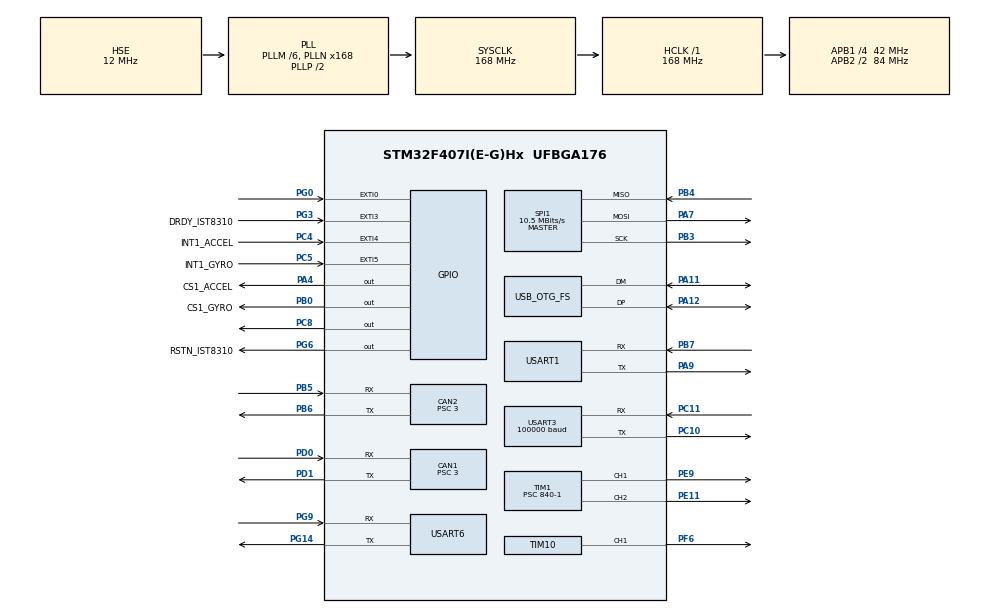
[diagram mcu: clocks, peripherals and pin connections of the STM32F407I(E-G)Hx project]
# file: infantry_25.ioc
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CAN1.BS1=CAN_BS1_10TQ
CAN1.BS2=CAN_BS2_3TQ
CAN1.CalculateBaudRate=1000000
CAN1.CalculateTimeBit=1000
CAN1.CalculateTimeQuantum=71.42857142857143
CAN1.Prescaler=3
CAN2.BS1=CAN_BS1_10TQ
CAN2.BS2=CAN_BS2_3TQ
CAN2.CalculateBaudRate=1000000
CAN2.CalculateTimeBit=1000
CAN2.CalculateTimeQuantum=71.42857142857143
CAN2.Prescaler=3
Dma.Request0=SPI1_RX
Dma.Request1=SPI1_TX
Dma.Request2=USART3_RX
Dma.Request3=USART1_RX
Dma.Request4=USART6_TX
Dma.Request5=USART6_RX
Dma.Request6=USART1_TX
Dma.SPI1_RX.0.Direction=DMA_PERIPH_TO_MEMORY
Dma.SPI1_RX.0.FIFOMode=DMA_FIFOMODE_DISABLE
Dma.SPI1_RX.0.Instance=DMA2_Stream2
Dma.SPI1_RX.0.MemDataAlignment=DMA_MDATAALIGN_BYTE
Dma.SPI1_RX.0.MemInc=DMA_MINC_ENABLE
Dma.SPI1_RX.0.Mode=DMA_NORMAL
Dma.SPI1_RX.0.PeriphDataAlignment=DMA_PDATAALIGN_BYTE
Dma.SPI1_RX.0.PeriphInc=DMA_PINC_DISABLE
Dma.SPI1_RX.0.Priority=DMA_PRIORITY_VERY_HIGH
Dma.SPI1_TX.1.Direction=DMA_MEMORY_TO_PERIPH
Dma.SPI1_TX.1.FIFOMode=DMA_FIFOMODE_DISABLE
Dma.SPI1_TX.1.Instance=DMA2_Stream3
Dma.SPI1_TX.1.MemDataAlignment=DMA_MDATAALIGN_BYTE
Dma.SPI1_TX.1.MemInc=DMA_MINC_ENABLE
Dma.SPI1_TX.1.Mode=DMA_NORMAL
Dma.SPI1_TX.1.PeriphDataAlignment=DMA_PDATAALIGN_BYTE
Dma.SPI1_TX.1.PeriphInc=DMA_PINC_DISABLE
Dma.SPI1_TX.1.Priority=DMA_PRIORITY_HIGH
Dma.USART1_RX.3.Direction=DMA_PERIPH_TO_MEMORY
Dma.USART1_RX.3.FIFOMode=DMA_FIFOMODE_DISABLE
Dma.USART1_RX.3.Instance=DMA2_Stream5
Dma.USART1_RX.3.MemDataAlignment=DMA_MDATAALIGN_BYTE
Dma.USART1_RX.3.MemInc=DMA_MINC_ENABLE
Dma.USART1_RX.3.Mode=DMA_NORMAL
Dma.USART1_RX.3.PeriphDataAlignment=DMA_PDATAALIGN_BYTE
Dma.USART1_RX.3.PeriphInc=DMA_PINC_DISABLE
Dma.USART1_RX.3.Priority=DMA_PRIORITY_HIGH
Dma.USART1_TX.6.Direction=DMA_MEMORY_TO_PERIPH
Dma.USART1_TX.6.FIFOMode=DMA_FIFOMODE_DISABLE
Dma.USART1_TX.6.Instance=DMA2_Stream7
Dma.USART1_TX.6.MemDataAlignment=DMA_MDATAALIGN_BYTE
Dma.USART1_TX.6.MemInc=DMA_MINC_ENABLE
Dma.USART1_TX.6.Mode=DMA_NORMAL
Dma.USART1_TX.6.PeriphDataAlignment=DMA_PDATAALIGN_BYTE
Dma.USART1_TX.6.PeriphInc=DMA_PINC_DISABLE
Dma.USART1_TX.6.Priority=DMA_PRIORITY_HIGH
Dma.USART3_RX.2.Direction=DMA_PERIPH_TO_MEMORY
Dma.USART3_RX.2.FIFOMode=DMA_FIFOMODE_DISABLE
Dma.USART3_RX.2.Instance=DMA1_Stream1
Dma.USART3_RX.2.MemDataAlignment=DMA_MDATAALIGN_BYTE
Dma.USART3_RX.2.MemInc=DMA_MINC_ENABLE
Dma.USART3_RX.2.Mode=DMA_CIRCULAR
Dma.USART3_RX.2.PeriphDataAlignment=DMA_PDATAALIGN_BYTE
Dma.USART3_RX.2.PeriphInc=DMA_PINC_DISABLE
Dma.USART3_RX.2.Priority=DMA_PRIORITY_LOW
Dma.USART6_RX.5.Direction=DMA_PERIPH_TO_MEMORY
Dma.USART6_RX.5.FIFOMode=DMA_FIFOMODE_DISABLE
Dma.USART6_RX.5.Instance=DMA2_Stream1
Dma.USART6_RX.5.MemDataAlignment=DMA_MDATAALIGN_BYTE
Dma.USART6_RX.5.MemInc=DMA_MINC_ENABLE
Dma.USART6_RX.5.Mode=DMA_NORMAL
Dma.USART6_RX.5.PeriphDataAlignment=DMA_PDATAALIGN_BYTE
Dma.USART6_RX.5.PeriphInc=DMA_PINC_DISABLE
Dma.USART6_RX.5.Priority=DMA_PRIORITY_LOW
Dma.USART6_TX.4.Direction=DMA_MEMORY_TO_PERIPH
Dma.USART6_TX.4.FIFOMode=DMA_FIFOMODE_DISABLE
Dma.USART6_TX.4.Instance=DMA2_Stream6
Dma.USART6_TX.4.MemDataAlignment=DMA_MDATAALIGN_BYTE
Dma.USART6_TX.4.MemInc=DMA_MINC_ENABLE
Dma.USART6_TX.4.Mode=DMA_NORMAL
Dma.USART6_TX.4.PeriphDataAlignment=DMA_PDATAALIGN_BYTE
Dma.USART6_TX.4.PeriphInc=DMA_PINC_DISABLE
Dma.USART6_TX.4.Priority=DMA_PRIORITY_LOW
FREERTOS.Tasks01=defaultTask,0,128,StartDefaultTask,Default,NULL,Dynamic,NULL,NULL;INSTask,0,512,StartINSTask,As weak,NULL,Dynamic,NULL,NULL
FREERTOS.configTOTAL_HEAP_SIZE=24576
Mcu.Family=STM32F4
Mcu.Name=STM32F407I(E-G)Hx
Mcu.Package=UFBGA176
NVIC.CAN1_RX0_IRQn=true\:5\:0\:false\:false\:true\:true\:true\:true\:true
NVIC.CAN1_TX_IRQn=true\:5\:0\:false\:false\:true\:true\:true\:true\:true
NVIC.CAN2_RX1_IRQn=true\:5\:0\:false\:false\:true\:true\:true\:true\:true
NVIC.CAN2_TX_IRQn=true\:5\:0\:false\:false\:true\:true\:true\:true\:true
NVIC.DMA1_Stream1_IRQn=true\:5\:0\:false\:false\:true\:true\:false\:true\:true
NVIC.DMA2_Stream1_IRQn=true\:5\:0\:false\:false\:true\:true\:false\:true\:true
NVIC.DMA2_Stream2_IRQn=true\:5\:0\:true\:false\:false\:true\:false\:false\:true
NVIC.DMA2_Stream3_IRQn=true\:5\:0\:false\:false\:false\:true\:false\:false\:true
NVIC.DMA2_Stream5_IRQn=true\:5\:0\:true\:false\:true\:true\:false\:true\:true
NVIC.DMA2_Stream6_IRQn=true\:5\:0\:false\:false\:true\:true\:false\:true\:true
NVIC.DMA2_Stream7_IRQn=true\:5\:0\:false\:false\:true\:true\:false\:true\:true
NVIC.EXTI0_IRQn=true\:6\:0\:true\:false\:true\:true\:true\:true\:true
NVIC.EXTI3_IRQn=true\:5\:0\:false\:false\:true\:true\:true\:true\:true
NVIC.EXTI4_IRQn=true\:5\:0\:false\:false\:true\:true\:true\:true\:true
NVIC.EXTI9_5_IRQn=true\:5\:0\:false\:false\:true\:true\:true\:true\:true
NVIC.OTG_FS_IRQn=true\:5\:0\:false\:false\:true\:true\:false\:true\:true
NVIC.PriorityGroup=NVIC_PRIORITYGROUP_4
NVIC.TIM2_IRQn=true\:15\:0\:false\:false\:true\:false\:false\:true\:true
NVIC.TimeBase=TIM2_IRQn
NVIC.TimeBaseIP=TIM2
NVIC.USART1_IRQn=true\:5\:0\:false\:false\:true\:true\:true\:true\:true
NVIC.USART3_IRQn=true\:5\:0\:false\:false\:false\:true\:true\:true\:true
NVIC.USART6_IRQn=true\:7\:0\:true\:false\:true\:true\:false\:true\:true
PA11.Mode=Device_Only
PA11.Signal=USB_OTG_FS_DM
PA12.Mode=Device_Only
PA12.Signal=USB_OTG_FS_DP
PA13.Mode=Serial_Wire
PA13.Signal=SYS_JTMS-SWDIO
PA14.Mode=Serial_Wire
PA14.Signal=SYS_JTCK-SWCLK
PA4.GPIO_Label=CS1_ACCEL
PA4.GPIO_PuPd=GPIO_PULLUP
PA4.GPIO_Speed=GPIO_SPEED_FREQ_HIGH
PA4.PinState=GPIO_PIN_SET
PA4.Signal=GPIO_Output
PA7.GPIO_PuPd=GPIO_PULLUP
PA7.Mode=Full_Duplex_Master
PA7.Signal=SPI1_MOSI
PA9.Mode=Asynchronous
PA9.Signal=USART1_TX
PB0.GPIO_Label=CS1_GYRO
PB0.GPIO_ModeDefaultOutputPP=GPIO_MODE_OUTPUT_PP
PB0.GPIO_PuPd=GPIO_PULLUP
PB0.GPIO_Speed=GPIO_SPEED_FREQ_HIGH
PB0.PinState=GPIO_PIN_SET
PB0.Signal=GPIO_Output
PB3.GPIO_PuPd=GPIO_PULLUP
PB3.Mode=Full_Duplex_Master
PB3.Signal=SPI1_SCK
PB4.GPIO_PuPd=GPIO_PULLUP
PB4.Mode=Full_Duplex_Master
PB4.Signal=SPI1_MISO
PB5.Mode=CAN_Activate
PB5.Signal=CAN2_RX
PB6.Mode=CAN_Activate
PB6.Signal=CAN2_TX
PB7.Mode=Asynchronous
PB7.Signal=USART1_RX
PC10.Mode=Asynchronous
PC10.Signal=USART3_TX
PC11.Mode=Asynchronous
PC11.Signal=USART3_RX
PC4.GPIO_Label=INT1_ACCEL
PC4.GPIO_ModeDefaultEXTI=GPIO_MODE_IT_FALLING
PC4.GPIO_PuPd=GPIO_PULLUP
PC4.Signal=GPXTI4
PC5.GPIO_Label=INT1_GYRO
PC5.GPIO_ModeDefaultEXTI=GPIO_MODE_IT_FALLING
PC5.GPIO_PuPd=GPIO_PULLUP
PC5.Signal=GPXTI5
PC8.GPIO_ModeDefaultOutputPP=GPIO_MODE_OUTPUT_PP
PC8.Signal=GPIO_Output
PD0.Mode=CAN_Activate
PD0.Signal=CAN1_RX
PD1.Mode=CAN_Activate
PD1.Signal=CAN1_TX
PE11.Signal=S_TIM1_CH2
PE9.Signal=S_TIM1_CH1
PF6.Signal=S_TIM10_CH1
PG0.GPIO_ModeDefaultEXTI=GPIO_MODE_IT_FALLING
PG0.GPIO_PuPd=GPIO_PULLUP
PG0.Signal=GPXTI0
PG14.Mode=Asynchronous
PG14.Signal=USART6_TX
PG3.GPIO_Label=DRDY_IST8310
PG3.GPIO_ModeDefaultEXTI=GPIO_MODE_IT_FALLING
PG3.GPIO_PuPd=GPIO_PULLUP
PG3.Signal=GPXTI3
PG6.GPIO_Label=RSTN_IST8310
PG6.GPIO_PuPd=GPIO_PULLUP
PG6.GPIO_Speed=GPIO_SPEED_FREQ_MEDIUM
PG6.PinState=GPIO_PIN_SET
PG6.Signal=GPIO_Output
PG9.Mode=Asynchronous
PG9.Signal=USART6_RX
PH0-OSC_IN.Mode=HSE-External-Oscillator
PH0-OSC_IN.Signal=RCC_OSC_IN
PH1-OSC_OUT.Mode=HSE-External-Oscillator
PH1-OSC_OUT.Signal=RCC_OSC_OUT
ProjectManager.HeapSize=0x2000
ProjectManager.StackSize=0x2000
ProjectManager.TargetToolchain=MDK-ARM V5
RCC.48MHZClocksFreq_Value=48000000
RCC.AHBFreq_Value=168000000
RCC.APB1CLKDivider=RCC_HCLK_DIV4
RCC.APB1Freq_Value=42000000
RCC.APB1TimFreq_Value=84000000
RCC.APB2CLKDivider=RCC_HCLK_DIV2
RCC.APB2Freq_Value=84000000
RCC.APB2TimFreq_Value=168000000
RCC.CortexFreq_Value=168000000
RCC.HCLKFreq_Value=168000000
RCC.HSE_VALUE=12000000
RCC.HSI_VALUE=16000000
RCC.LSE_VALUE=32768
RCC.PLLM=6
RCC.PLLN=168
RCC.PLLQ=7
RCC.RCC_RTC_Clock_SourceVirtual=RCC_RTCCLKSOURCE_HSE_DIV30
RCC.RCC_RTC_Clock_Source_FROM_HSE=RCC_RTCCLKSOURCE_HSE_DIV30
RCC.SYSCLKFreq_VALUE=168000000
RCC.SYSCLKSource=RCC_SYSCLKSOURCE_PLLCLK
RCC.VCOOutputFreq_Value=336000000
RTC.AsynchPrediv=124
RTC.SynchPrediv=3199
SH.S_TIM10_CH1.0=TIM10_CH1,PWM Generation1 CH1
SH.S_TIM1_CH1.0=TIM1_CH1,PWM Generation1 CH1
SH.S_TIM1_CH2.0=TIM1_CH2,PWM Generation2 CH2
SPI1.BaudRatePrescaler=SPI_BAUDRATEPRESCALER_8
SPI1.CLKPhase=SPI_PHASE_2EDGE
SPI1.CLKPolarity=SPI_POLARITY_HIGH
SPI1.CalculateBaudRate=10.5 MBits/s
SPI1.Direction=SPI_DIRECTION_2LINES
SPI1.Mode=SPI_MODE_MASTER
SPI1.VirtualType=VM_MASTER
TIM1.Channel-PWM\ Generation1\ CH1=TIM_CHANNEL_1
TIM1.Channel-PWM\ Generation2\ CH2=TIM_CHANNEL_2
TIM1.Period=2000-1
TIM1.Prescaler=840-1
TIM10.Channel=TIM_CHANNEL_1
TIM10.Period=4999
USART1.VirtualMode=VM_ASYNC
USART3.BaudRate=100000
USART3.Parity=PARITY_EVEN
USART3.VirtualMode=VM_ASYNC
USART6.VirtualMode=VM_ASYNC
USB_DEVICE.CLASS_NAME_FS=CDC
USB_DEVICE.VirtualMode-CDC_FS=Cdc
USB_DEVICE.VirtualModeFS=Cdc_FS
USB_OTG_FS.VirtualMode=Device_Only
VP_FREERTOS_VS_CMSIS_V1.Mode=CMSIS_V1
VP_RTC_VS_RTC_Activate.Mode=RTC_Enabled
VP_SYS_VS_tim2.Mode=TIM2
VP_TIM10_VS_ClockSourceINT.Mode=Enable_Timer
VP_USB_DEVICE_VS_USB_DEVICE_CDC_FS.Mode=CDC_FS
board=custom

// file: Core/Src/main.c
/* USER CODE BEGIN Header */
/**
  ******************************************************************************
  * @file           : main.c
  * @brief          : Main program body
  ******************************************************************************
  * @attention
  *
  * Copyright (c) 2024 STMicroelectronics.
  * All rights reserved.
  *
  * This software is licensed under terms that can be found in the LICENSE file
  * in the root directory of this software component.
  * If no LICENSE file comes with this software, it is provided AS-IS.
  *
  ******************************************************************************
  */
/* USER CODE END Header */
#include "main.h"
#include "cmsis_os.h"
#include "can.h"
#include "dma.h"
#include "rtc.h"
#include "spi.h"
#include "tim.h"
#include "usart.h"
#include "usb_device.h"
#include "gpio.h"

/* USER CODE BEGIN Includes */
#include "BMI088driver.h"
#include "bsp_dwt.h"
#include "remote_control.h"
#include "bsp_rc.h"
#include "bsp_can.h"
//#include "system.h"
#include "stdio.h"
#include "ins_task.h"
#include "controller.h"
//#include "SuperCAP.h"
#include "essemi_swd_print.h"
#include "CAN_receive.h"

#include "remote_control.h"
/* USER CODE END Includes */

void SystemClock_Config(void);
void MX_FREERTOS_Init(void);

int main(void)
{

  /* MCU Configuration--------------------------------------------------------*/

  /* Reset of all peripherals, Initializes the Flash interface and the Systick. */
  HAL_Init();

  /* Configure the system clock */
  SystemClock_Config();

  /* Initialize all configured peripherals */
  MX_GPIO_Init();
  MX_DMA_Init();
  MX_RTC_Init();
  MX_SPI1_Init();
  MX_TIM1_Init();
  MX_TIM10_Init();
  MX_USART6_UART_Init();
  MX_USART3_UART_Init();
  MX_USART1_UART_Init();
  MX_CAN1_Init();
  MX_CAN2_Init();
  /* USER CODE BEGIN 2 */
//	remote_control_init();
	can_filter_init();
    DWT_Init(168);
    while (BMI088_init(&hspi1, 1) != BMI088_NO_ERROR);
    MX_USB_DEVICE_Init();
    Start_PIN_int();
    Communication_PIN_int();
  /* USER CODE END 2 */

  /* Call init function for freertos objects (in cmsis_os2.c) */
  MX_FREERTOS_Init();

  /* Start scheduler */
  osKernelStart();

  /* We should never get here as control is now taken by the scheduler */

  /* Infinite loop */
  while (1)
  {

  }
}

void SystemClock_Config(void)
{
  RCC_OscInitTypeDef RCC_OscInitStruct = {0};
  RCC_ClkInitTypeDef RCC_ClkInitStruct = {0};

  /** Configure the main internal regulator output voltage
  */
  __HAL_RCC_PWR_CLK_ENABLE();
  __HAL_PWR_VOLTAGESCALING_CONFIG(PWR_REGULATOR_VOLTAGE_SCALE1);

  /** Initializes the RCC Oscillators according to the specified parameters
  * in the RCC_OscInitTypeDef structure.
  */
  RCC_OscInitStruct.OscillatorType = RCC_OSCILLATORTYPE_HSE;
  RCC_OscInitStruct.HSEState = RCC_HSE_ON;
  RCC_OscInitStruct.PLL.PLLState = RCC_PLL_ON;
  RCC_OscInitStruct.PLL.PLLSource = RCC_PLLSOURCE_HSE;
  RCC_OscInitStruct.PLL.PLLM = 6;
  RCC_OscInitStruct.PLL.PLLN = 168;
  RCC_OscInitStruct.PLL.PLLP = RCC_PLLP_DIV2;
  RCC_OscInitStruct.PLL.PLLQ = 7;
  if (HAL_RCC_OscConfig(&RCC_OscInitStruct) != HAL_OK)
  {
    Error_Handler();
  }

  /** Initializes the CPU, AHB and APB buses clocks
  */
  RCC_ClkInitStruct.ClockType = RCC_CLOCKTYPE_HCLK|RCC_CLOCKTYPE_SYSCLK
                              |RCC_CLOCKTYPE_PCLK1|RCC_CLOCKTYPE_PCLK2;
  RCC_ClkInitStruct.SYSCLKSource = RCC_SYSCLKSOURCE_PLLCLK;
  RCC_ClkInitStruct.AHBCLKDivider = RCC_SYSCLK_DIV1;
  RCC_ClkInitStruct.APB1CLKDivider = RCC_HCLK_DIV4;
  RCC_ClkInitStruct.APB2CLKDivider = RCC_HCLK_DIV2;

  if (HAL_RCC_ClockConfig(&RCC_ClkInitStruct, FLASH_LATENCY_5) != HAL_OK)
  {
    Error_Handler();
  }
}

/* USER CODE BEGIN 4 */
int fputc(int ch,FILE *f)//
{
	HAL_UART_Transmit(&huart1,(uint8_t *)&ch,1,0xFFFF);

	return ch;
}
/* USER CODE END 4 */

void HAL_TIM_PeriodElapsedCallback(TIM_HandleTypeDef *htim)
{
  if (htim->Instance == TIM2) {
    HAL_IncTick();
  }
}

void Error_Handler(void)
{
  __disable_irq();
  while (1)
  {
  }
}

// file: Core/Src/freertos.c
/* USER CODE BEGIN Header */
/**
  ******************************************************************************
  * File Name          : freertos.c
  * Description        : Code for freertos applications
  ******************************************************************************
  * @attention
  *
  * Copyright (c) 2024 STMicroelectronics.
  * All rights reserved.
  *
  * This software is licensed under terms that can be found in the LICENSE file
  * in the root directory of this software component.
  * If no LICENSE file comes with this software, it is provided AS-IS.
  *
  ******************************************************************************
  */
/* USER CODE END Header */

#include "FreeRTOS.h"
#include "task.h"
#include "main.h"
#include "cmsis_os.h"

osThreadId defaultTaskHandle;
osThreadId system_taskHandle;
osThreadId INSTaskHandle;
osThreadId motor_taskHandle;

osThreadId gimbal_taskHandle;
osThreadId shoot_taskHandle;
osThreadId printHandle;
osThreadId trig_taskHandle;
osThreadId DETECTHandle;

void StartDefaultTask(void const * argument);
void system_run(void const * argument);
void StartINSTask(void const * argument);
void gimbal_run(void const * argument);
void motor_run(void const * argument);
void shoot_run(void const * argument);
void trig_run(void const * argument);
	void printf_task(void const * argument);
  extern void DETECT_task(void const * argument);
//void motor_run(void const * argument);
//void Odometer_run(void const * argument);
void MX_FREERTOS_Init(void); /* (MISRA C 2004 rule 8.1) */

/* GetIdleTaskMemory prototype (linked to static allocation support) */
void vApplicationGetIdleTaskMemory( StaticTask_t **ppxIdleTaskTCBBuffer, StackType_t **ppxIdleTaskStackBuffer, uint32_t *pulIdleTaskStackSize );

/* USER CODE BEGIN GET_IDLE_TASK_MEMORY */
static StaticTask_t xIdleTaskTCBBuffer;
static StackType_t xIdleStack[configMINIMAL_STACK_SIZE];

void vApplicationGetIdleTaskMemory( StaticTask_t **ppxIdleTaskTCBBuffer, StackType_t **ppxIdleTaskStackBuffer, uint32_t *pulIdleTaskStackSize )
{
  *ppxIdleTaskTCBBuffer = &xIdleTaskTCBBuffer;
  *ppxIdleTaskStackBuffer = &xIdleStack[0];
  *pulIdleTaskStackSize = configMINIMAL_STACK_SIZE;
  /* place for user code */
}
/* USER CODE END GET_IDLE_TASK_MEMORY */

void MX_FREERTOS_Init(void) {

  /* Create the thread(s) */
  /* definition and creation of defaultTask */
  osThreadDef(defaultTask, StartDefaultTask, osPriorityNormal, 0, 128);
  defaultTaskHandle = osThreadCreate(osThread(defaultTask), NULL);

  /* definition and creation of system_task */
  osThreadDef(system_task, system_run, osPriorityNormal, 0, 256);
  system_taskHandle = osThreadCreate(osThread(system_task), NULL);

  /* definition and creation of INSTask */
  osThreadDef(INSTask, StartINSTask, osPriorityNormal, 0, 512);
  INSTaskHandle = osThreadCreate(osThread(INSTask), NULL);

  osThreadDef(DETECT, DETECT_task, osPriorityNormal, 0, 256);
  DETECTHandle = osThreadCreate(osThread(DETECT), NULL);

osThreadDef(motor_task, motor_run, osPriorityNormal, 0, 256);
  motor_taskHandle = osThreadCreate(osThread(motor_task), NULL);
  /* definition and creation of motor_task */
//  osThreadDef(motor_task, motor_run, osPriorityAboveNormal, 0, 256);
//  motor_taskHandle = osThreadCreate(osThread(motor_task), NULL);

  osThreadDef(gimbal_task, gimbal_run, osPriorityNormal, 0, 256);
  gimbal_taskHandle = osThreadCreate(osThread(gimbal_task), NULL);

  osThreadDef(shoot_task, shoot_run, osPriorityNormal, 0, 256);
  shoot_taskHandle = osThreadCreate(osThread(shoot_task), NULL);

  osThreadDef(trig_task, trig_run, osPriorityNormal, 0, 256);
  trig_taskHandle = osThreadCreate(osThread(trig_task), NULL);

osThreadDef(printfTask, printf_task, osPriorityLow, 0, 128);
printHandle = osThreadCreate(osThread(printfTask), NULL);
//osThreadDef(Odometer_task, Odometer_run, osPriorityAboveNormal, 0, 256);
//  Odometer_taskHandle = osThreadCreate(osThread(Odometer_task), NULL);

}

void StartDefaultTask(void const * argument)
{
  for(;;)
  {
    osDelay(1);
  }
}

__weak void system_run(void const * argument)
{
  for(;;)
  {
    osDelay(1);
  }
}

__weak void StartINSTask(void const * argument)
{
  for(;;)
  {
    osDelay(1);
  }
}

__weak void StartTask04(void const * argument)
{
  for(;;)
  {
    osDelay(1);
  }
}
